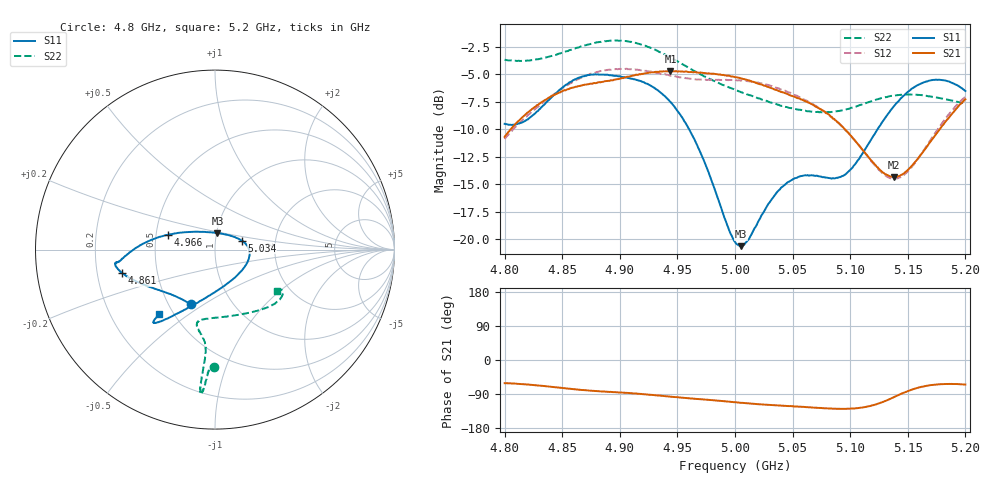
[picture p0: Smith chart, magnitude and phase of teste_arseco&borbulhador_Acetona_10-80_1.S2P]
! Network Analyzer HP8722D
! Hewlett-Packard
! Data name: Linha & Wilkinson
! Saver's name: Rodrigo Anjos
! Comments: Teste da utilização de aquisição
! continua pelo VNA HP8722D
! Time and date: 17/4/2025 14:22
!  Frequency  S11  S21  S12  S22
# HZ  S  MA R 50
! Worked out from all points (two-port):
!   401 points, 4.8 GHz to 5.2 GHz, reference 50 ohm
!   highest |S21| = -4.70 dB at 4.944 GHz (marker M1); lowest = -14.4 dB at 5.138 GHz (marker M2)
!   |S21| within 3 dB of the highest: 4.83 GHz to 5.066 GHz (236.5 MHz wide, 4.78 % of centre); 5.195706 GHz to end of sweep
!   lowest |S11| = -20.7 dB at 5.005 GHz (marker M3), VSWR 1.20, Z = 50.5 + j9.35 ohm
!   |S11| at or under -10 dB: 4.96 GHz to 5.124 GHz (163.5 MHz wide, 3.24 % of centre)
!   |S22| runs from -8.5 to -1.9 dB; largest |S21 - S12| = 0.87
!   S11 on the Smith chart (normalised r, x): 4.8 GHz: 0.64, -0.44; 4.861 GHz: 0.31, -0.11; 4.966 GHz: 0.58, +0.10; 5.034 GHz: 1.34, +0.14; 5.2 GHz: 0.42, -0.39
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4.8e9  0.3348 -114.0  0.292 -61.2  0.2857 -175.3  0.6558 -90.3
4.819e9  0.3486 -133.9  0.3728 -64.4  0.3608 -174.0  0.6499 -91.8
4.861e9  0.5336 -165.8  0.4923 -77.4  0.5257 -177.2  0.7371 -94.1
4.867e9  0.5487 -168.1  0.5016 -79.2  0.5448 -178.3  0.7556 -94.3
4.903e9  0.5469 -172.6  0.5408 -86.1  0.5963 174.4  0.7986 -95.8
4.934e9  0.4714 -178.4  0.5773 -94.0  0.5708 171.4  0.7131 -96.0
4.944e9  0.4214 177.1  0.5819 -96.7  0.5544 171.6  0.6719 -95.7
4.966e9  0.2753 162.7  0.5755 -102.6  0.5332 173.4  0.5782 -95.2
5e9  0.09698 100.0  0.5461 -111.4  0.5317 175.8  0.4778 -99.2
5.005e9  0.09274 81.8  0.5387 -113.0  0.5266 175.9  0.4668 -100.5
5.012e9  0.09972 58.6  0.5274 -114.5  0.5231 175.6  0.4534 -101.7
5.034e9  0.1571 18.6  0.4805 -119.4  0.4931 174.5  0.414 -103.5
5.05e9  0.1868 2.7  0.4478 -122.2  0.4579 173.7  0.3938 -99.3
5.067e9  0.195 -15.5  0.4106 -125.3  0.4142 173.5  0.3803 -90.4
5.096e9  0.1972 -66.0  0.3139 -128.8  0.3129 174.3  0.3889 -67.9
5.123e9  0.312 -108.3  0.2134 -116.5  0.2119 -171.0  0.4325 -48.6
5.134e9  0.378 -117.2  0.1934 -103.5  0.1899 -156.5  0.4472 -43.0
5.138e9  0.4026 -119.5  0.1914 -98.0  0.1882 -150.1  0.45 -41.2
5.151e9  0.4725 -125.1  0.2086 -80.8  0.206 -130.3  0.4559 -36.5
5.17e9  0.5287 -129.4  0.2788 -66.2  0.2842 -112.6  0.4457 -32.2
5.184e9  0.5247 -130.6  0.3496 -63.4  0.3612 -107.6  0.4322 -31.2
5.2e9  0.4724 -130.9  0.4331 -64.8  0.4455 -106.9  0.4151 -33.6
